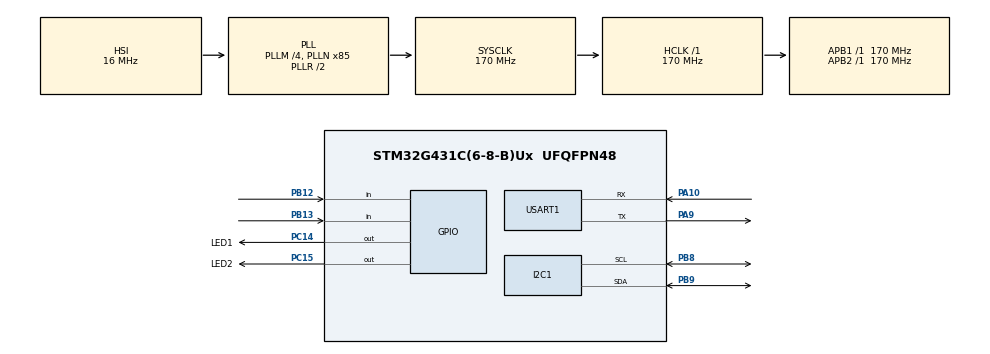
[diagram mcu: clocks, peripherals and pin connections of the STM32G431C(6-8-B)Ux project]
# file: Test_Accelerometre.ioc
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I2C1.Timing=0x40B285C2
Mcu.Family=STM32G4
Mcu.Name=STM32G431C(6-8-B)Ux
Mcu.Package=UFQFPN48
NVIC.PriorityGroup=NVIC_PRIORITYGROUP_4
PA10.Mode=Asynchronous
PA10.Signal=USART1_RX
PA9.Mode=Asynchronous
PA9.Signal=USART1_TX
PB12.Signal=GPIO_Input
PB13.Signal=GPIO_Input
PB8-BOOT0.Mode=I2C
PB8-BOOT0.Signal=I2C1_SCL
PB9.Mode=I2C
PB9.Signal=I2C1_SDA
PC14-OSC32_IN.GPIO_Label=LED1
PC14-OSC32_IN.Signal=GPIO_Output
PC15-OSC32_OUT.GPIO_Label=LED2
PC15-OSC32_OUT.Signal=GPIO_Output
ProjectManager.HeapSize=0x200
ProjectManager.StackSize=0x400
ProjectManager.TargetToolchain=STM32CubeIDE
RCC.ADC12Freq_Value=170000000
RCC.AHBFreq_Value=170000000
RCC.APB1Freq_Value=170000000
RCC.APB1TimFreq_Value=170000000
RCC.APB2Freq_Value=170000000
RCC.APB2TimFreq_Value=170000000
RCC.CortexFreq_Value=170000000
RCC.EXTERNAL_CLOCK_VALUE=12288000
RCC.HCLKFreq_Value=170000000
RCC.HSE_VALUE=8000000
RCC.HSI48_VALUE=48000000
RCC.HSI_VALUE=16000000
RCC.LSE_VALUE=32768
RCC.PLLM=RCC_PLLM_DIV4
RCC.PLLN=85
RCC.SYSCLKFreq_VALUE=170000000
RCC.SYSCLKSource=RCC_SYSCLKSOURCE_PLLCLK
RCC.USBFreq_Value=170000000
RCC.VCOOutputFreq_Value=340000000
USART1.VirtualMode-Asynchronous=VM_ASYNC
VP_SYS_VS_DBSignals.Mode=DisableDeadBatterySignals
board=custom

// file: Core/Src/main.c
/* USER CODE BEGIN Header */
/**
  ******************************************************************************
  * @file           : main.c
  * @brief          : Main program body
  ******************************************************************************
  * @attention
  *
  * Copyright (c) 2025 STMicroelectronics.
  * All rights reserved.
  *
  * This software is licensed under terms that can be found in the LICENSE file
  * in the root directory of this software component.
  * If no LICENSE file comes with this software, it is provided AS-IS.
  *
  ******************************************************************************
  */
/* USER CODE END Header */
#include "main.h"
#include "i2c.h"
#include "usart.h"
#include "gpio.h"

/* USER CODE BEGIN Includes */
#include "ADXL343_driver.h"
#include <stdio.h>
#include <math.h> // Nécessaire pour fabsf
/* USER CODE END Includes */

void SystemClock_Config(void);

int main(void)
{

  /* MCU Configuration--------------------------------------------------------*/

  /* Reset of all peripherals, Initializes the Flash interface and the Systick. */
  HAL_Init();

  /* Configure the system clock */
  SystemClock_Config();

  /* Initialize all configured peripherals */
  MX_GPIO_Init();
  MX_I2C1_Init();
  MX_USART1_UART_Init();
  /* USER CODE BEGIN 2 */
  printf("\r\nTest Accéléromètre ADXL343\r\n");

  // 1. Initialisation du capteur
  if (ADXL343_Init(&hi2c1) != HAL_OK) {
      printf("Erreur Init ADXL343 !\r\n");
      while(1); // Bloquer en cas d'erreur
  } else {
      printf("ADXL343 Init OK\r\n");
  }

  // 2. Configuration de la détection de choc (Seuil 0.3g, Durée 50ms)
  if (ADXL343_ConfigShock(&hi2c1, 0.3f, 50.0f) != HAL_OK) {
      printf("Erreur Config Shock !\r\n");
  } else {
      printf("Config Shock OK\r\n");
  }

  static float prevA = 1.0f; // Pour le calcul du delta

  /* USER CODE END 2 */

  /* Infinite loop */
  while (1)
  {

    /* USER CODE BEGIN 3 */
      // 3. Vérifier s'il y a un choc
      if (ADXL343_CheckShock(&hi2c1))
      {
          printf("CHOC DETECTE !\r\n");
          for(int i=0; i<4; i++)
          {
              HAL_GPIO_TogglePin(GPIOC, LED1_Pin | LED2_Pin);
              HAL_Delay(100);
          }
          HAL_GPIO_WritePin(GPIOC, LED1_Pin | LED2_Pin, GPIO_PIN_RESET);
      }

      // 4. Afficher les données d'accélération (Logique déplacée ici)
      adxl343_axes_t axes;
      if (ADXL343_ReadAxes(&hi2c1, &axes) == HAL_OK) {
          float xg = ADXL343_RawTo_g(axes.x);
          float yg = ADXL343_RawTo_g(axes.y);
          float zg = ADXL343_RawTo_g(axes.z);

          float Atot = ADXL343_ComputeTotalG(xg, yg, zg);
          float deltaA = fabsf(Atot - prevA);
          prevA = Atot;

          printf("X=%.3f g  Y=%.3f g  Z=%.3f g  |  A=%.3f g  |  dA=%.3f g\r\n", xg, yg, zg, Atot, deltaA);
      } else {
          printf("Erreur lecture I2C\r\n");
      }

      HAL_Delay(100);
  }
  /* USER CODE END 3 */
}

void SystemClock_Config(void)
{
  RCC_OscInitTypeDef RCC_OscInitStruct = {0};
  RCC_ClkInitTypeDef RCC_ClkInitStruct = {0};

  /** Configure the main internal regulator output voltage
  */
  HAL_PWREx_ControlVoltageScaling(PWR_REGULATOR_VOLTAGE_SCALE1_BOOST);

  /** Initializes the RCC Oscillators according to the specified parameters
  * in the RCC_OscInitTypeDef structure.
  */
  RCC_OscInitStruct.OscillatorType = RCC_OSCILLATORTYPE_HSI;
  RCC_OscInitStruct.HSIState = RCC_HSI_ON;
  RCC_OscInitStruct.HSICalibrationValue = RCC_HSICALIBRATION_DEFAULT;
  RCC_OscInitStruct.PLL.PLLState = RCC_PLL_ON;
  RCC_OscInitStruct.PLL.PLLSource = RCC_PLLSOURCE_HSI;
  RCC_OscInitStruct.PLL.PLLM = RCC_PLLM_DIV4;
  RCC_OscInitStruct.PLL.PLLN = 85;
  RCC_OscInitStruct.PLL.PLLP = RCC_PLLP_DIV2;
  RCC_OscInitStruct.PLL.PLLQ = RCC_PLLQ_DIV2;
  RCC_OscInitStruct.PLL.PLLR = RCC_PLLR_DIV2;
  if (HAL_RCC_OscConfig(&RCC_OscInitStruct) != HAL_OK)
  {
    Error_Handler();
  }

  /** Initializes the CPU, AHB and APB buses clocks
  */
  RCC_ClkInitStruct.ClockType = RCC_CLOCKTYPE_HCLK|RCC_CLOCKTYPE_SYSCLK
                              |RCC_CLOCKTYPE_PCLK1|RCC_CLOCKTYPE_PCLK2;
  RCC_ClkInitStruct.SYSCLKSource = RCC_SYSCLKSOURCE_PLLCLK;
  RCC_ClkInitStruct.AHBCLKDivider = RCC_SYSCLK_DIV1;
  RCC_ClkInitStruct.APB1CLKDivider = RCC_HCLK_DIV1;
  RCC_ClkInitStruct.APB2CLKDivider = RCC_HCLK_DIV1;

  if (HAL_RCC_ClockConfig(&RCC_ClkInitStruct, FLASH_LATENCY_4) != HAL_OK)
  {
    Error_Handler();
  }
}

/* USER CODE BEGIN 4 */
int __io_putchar(int ch)
{
  HAL_UART_Transmit(&huart1, (uint8_t *)&ch, 1, HAL_MAX_DELAY);
  return ch;
}
/* USER CODE END 4 */

void Error_Handler(void)
{
  __disable_irq();
  while (1)
  {
  }
}
